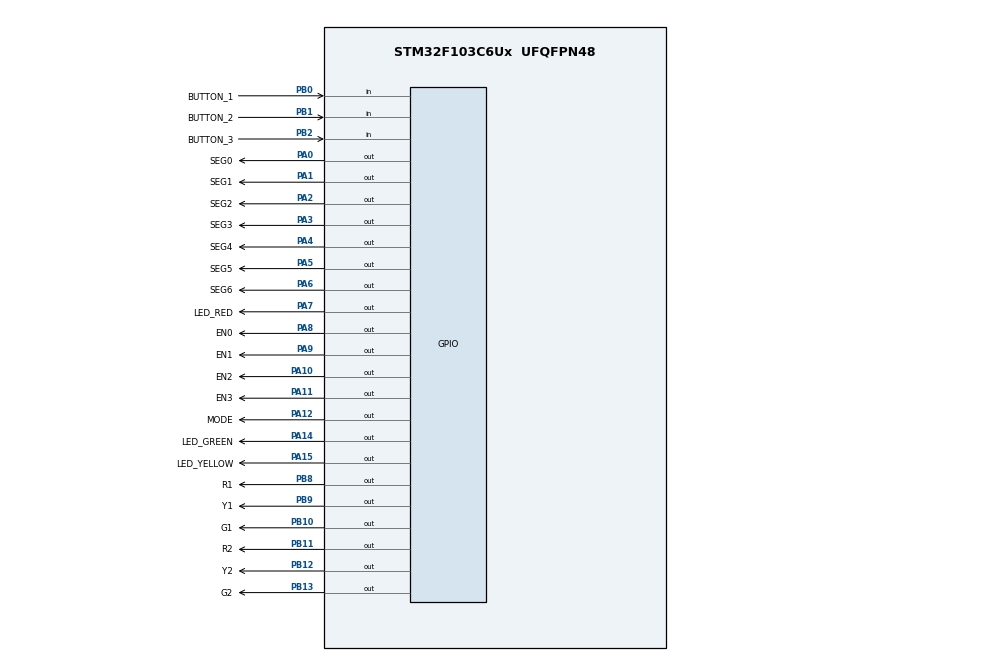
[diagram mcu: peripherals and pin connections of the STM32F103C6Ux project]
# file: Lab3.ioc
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Mcu.Family=STM32F1
Mcu.Name=STM32F103C6Ux
Mcu.Package=UFQFPN48
NVIC.PriorityGroup=NVIC_PRIORITYGROUP_4
NVIC.TIM2_IRQn=true\:0\:0\:false\:false\:true\:true\:true
PA0-WKUP.GPIO_Label=SEG0
PA0-WKUP.Signal=GPIO_Output
PA1.GPIO_Label=SEG1
PA1.Signal=GPIO_Output
PA10.GPIO_Label=EN2
PA10.Signal=GPIO_Output
PA11.GPIO_Label=EN3
PA11.Signal=GPIO_Output
PA12.GPIO_Label=MODE
PA12.Signal=GPIO_Output
PA14.GPIO_Label=LED_GREEN
PA14.Signal=GPIO_Output
PA15.GPIO_Label=LED_YELLOW
PA15.Signal=GPIO_Output
PA2.GPIO_Label=SEG2
PA2.Signal=GPIO_Output
PA3.GPIO_Label=SEG3
PA3.Signal=GPIO_Output
PA4.GPIO_Label=SEG4
PA4.Signal=GPIO_Output
PA5.GPIO_Label=SEG5
PA5.Signal=GPIO_Output
PA6.GPIO_Label=SEG6
PA6.Signal=GPIO_Output
PA7.GPIO_Label=LED_RED
PA7.Signal=GPIO_Output
PA8.GPIO_Label=EN0
PA8.Signal=GPIO_Output
PA9.GPIO_Label=EN1
PA9.Signal=GPIO_Output
PB0.GPIO_Label=BUTTON_1
PB0.Signal=GPIO_Input
PB1.GPIO_Label=BUTTON_2
PB1.Signal=GPIO_Input
PB10.GPIO_Label=G1
PB10.Signal=GPIO_Output
PB11.GPIO_Label=R2
PB11.Signal=GPIO_Output
PB12.GPIO_Label=Y2
PB12.Signal=GPIO_Output
PB13.GPIO_Label=G2
PB13.Signal=GPIO_Output
PB2.GPIO_Label=BUTTON_3
PB2.Signal=GPIO_Input
PB8.GPIO_Label=R1
PB8.Signal=GPIO_Output
PB9.GPIO_Label=Y1
PB9.Signal=GPIO_Output
ProjectManager.HeapSize=0x200
ProjectManager.StackSize=0x400
ProjectManager.TargetToolchain=STM32CubeIDE
RCC.APB1Freq_Value=8000000
RCC.APB2Freq_Value=8000000
TIM2.Period=9
TIM2.Prescaler=799
VP_SYS_VS_ND.Mode=No_Debug
VP_TIM2_VS_ClockSourceINT.Mode=Internal
board=custom

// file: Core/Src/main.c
/* USER CODE BEGIN Header */
/**
  ******************************************************************************
  * @file           : main.c
  * @brief          : Main program body
  ******************************************************************************
  * @attention
  *
  * <h2><center>&copy; Copyright (c) 2024 STMicroelectronics.
  * All rights reserved.</center></h2>
  *
  * This software component is licensed by ST under BSD 3-Clause license,
  * the "License"; You may not use this file except in compliance with the
  * License. You may obtain a copy of the License at:
  *                        opensource.org/licenses/BSD-3-Clause
  *
  ******************************************************************************
  */
/* USER CODE END Header */
#include "main.h"

/* USER CODE BEGIN Includes */
#include "timer.h"
#include "led_display.h"
#include "fsm_manual.h"
#include "fsm_automatic.h"
/* USER CODE END Includes */

TIM_HandleTypeDef htim2;

void SystemClock_Config(void);
static void MX_TIM2_Init(void);
static void MX_GPIO_Init(void);

int main(void)
{

  /* MCU Configuration--------------------------------------------------------*/

  /* Reset of all peripherals, Initializes the Flash interface and the Systick. */
  HAL_Init();

  /* Configure the system clock */
  SystemClock_Config();

  /* Initialize all configured peripherals */
  MX_TIM2_Init();
  MX_GPIO_Init();
  /* USER CODE BEGIN 2 */
  HAL_TIM_Base_Start_IT(&htim2);
  /* USER CODE END 2 */

  /* Infinite loop */
  /* USER CODE BEGIN WHILE */
//  setTimer5(1);
  init_buffer();
  LedTimeDurationInit();
  setTimer1(1);
  setTimer2(1);
  setTimer3(1);
  while (1)
  {
	  fsm_automatic();
	  fsm_manual();
	  if (get_timer2_flag())
	  {
		  LEDScanning();
		  setTimer2(1);
	  }

	  if(get_timer3_flag())
	  {
		  HAL_GPIO_TogglePin(LED_RED_GPIO_Port, LED_RED_Pin);
		  setTimer3(500);
	  }

    /* USER CODE END WHILE */

  }
}

void SystemClock_Config(void)
{
  RCC_OscInitTypeDef RCC_OscInitStruct = {0};
  RCC_ClkInitTypeDef RCC_ClkInitStruct = {0};

  /** Initializes the RCC Oscillators according to the specified parameters
  * in the RCC_OscInitTypeDef structure.
  */
  RCC_OscInitStruct.OscillatorType = RCC_OSCILLATORTYPE_HSI;
  RCC_OscInitStruct.HSIState = RCC_HSI_ON;
  RCC_OscInitStruct.HSICalibrationValue = RCC_HSICALIBRATION_DEFAULT;
  RCC_OscInitStruct.PLL.PLLState = RCC_PLL_NONE;
  if (HAL_RCC_OscConfig(&RCC_OscInitStruct) != HAL_OK)
  {
    Error_Handler();
  }
  /** Initializes the CPU, AHB and APB buses clocks
  */
  RCC_ClkInitStruct.ClockType = RCC_CLOCKTYPE_HCLK|RCC_CLOCKTYPE_SYSCLK
                              |RCC_CLOCKTYPE_PCLK1|RCC_CLOCKTYPE_PCLK2;
  RCC_ClkInitStruct.SYSCLKSource = RCC_SYSCLKSOURCE_HSI;
  RCC_ClkInitStruct.AHBCLKDivider = RCC_SYSCLK_DIV1;
  RCC_ClkInitStruct.APB1CLKDivider = RCC_HCLK_DIV1;
  RCC_ClkInitStruct.APB2CLKDivider = RCC_HCLK_DIV1;

  if (HAL_RCC_ClockConfig(&RCC_ClkInitStruct, FLASH_LATENCY_0) != HAL_OK)
  {
    Error_Handler();
  }
}

static void MX_TIM2_Init(void)
{

  TIM_ClockConfigTypeDef sClockSourceConfig = {0};
  TIM_MasterConfigTypeDef sMasterConfig = {0};

  htim2.Instance = TIM2;
  htim2.Init.Prescaler = 799;
  htim2.Init.CounterMode = TIM_COUNTERMODE_UP;
  htim2.Init.Period = 9;
  htim2.Init.ClockDivision = TIM_CLOCKDIVISION_DIV1;
  htim2.Init.AutoReloadPreload = TIM_AUTORELOAD_PRELOAD_DISABLE;
  if (HAL_TIM_Base_Init(&htim2) != HAL_OK)
  {
    Error_Handler();
  }
  sClockSourceConfig.ClockSource = TIM_CLOCKSOURCE_INTERNAL;
  if (HAL_TIM_ConfigClockSource(&htim2, &sClockSourceConfig) != HAL_OK)
  {
    Error_Handler();
  }
  sMasterConfig.MasterOutputTrigger = TIM_TRGO_RESET;
  sMasterConfig.MasterSlaveMode = TIM_MASTERSLAVEMODE_DISABLE;
  if (HAL_TIMEx_MasterConfigSynchronization(&htim2, &sMasterConfig) != HAL_OK)
  {
    Error_Handler();
  }

}

static void MX_GPIO_Init(void)
{
  GPIO_InitTypeDef GPIO_InitStruct = {0};

  /* GPIO Ports Clock Enable */
  __HAL_RCC_GPIOA_CLK_ENABLE();
  __HAL_RCC_GPIOB_CLK_ENABLE();

  /*Configure GPIO pin Output Level */
  HAL_GPIO_WritePin(GPIOA, SEG0_Pin|SEG1_Pin|SEG2_Pin|SEG3_Pin
                          |SEG4_Pin|SEG5_Pin|SEG6_Pin|LED_RED_Pin
                          |EN0_Pin|EN1_Pin|EN2_Pin|EN3_Pin
                          |MODE_Pin|LED_GREEN_Pin|LED_YELLOW_Pin, GPIO_PIN_RESET);

  /*Configure GPIO pin Output Level */
  HAL_GPIO_WritePin(GPIOB, G1_Pin|R2_Pin|Y2_Pin|G2_Pin
                          |R1_Pin|Y1_Pin, GPIO_PIN_RESET);

  /*Configure GPIO pins : SEG0_Pin SEG1_Pin SEG2_Pin SEG3_Pin
                           SEG4_Pin SEG5_Pin SEG6_Pin LED_RED_Pin
                           EN0_Pin EN1_Pin EN2_Pin EN3_Pin
                           MODE_Pin LED_GREEN_Pin LED_YELLOW_Pin */
  GPIO_InitStruct.Pin = SEG0_Pin|SEG1_Pin|SEG2_Pin|SEG3_Pin
                          |SEG4_Pin|SEG5_Pin|SEG6_Pin|LED_RED_Pin
                          |EN0_Pin|EN1_Pin|EN2_Pin|EN3_Pin
                          |MODE_Pin|LED_GREEN_Pin|LED_YELLOW_Pin;
  GPIO_InitStruct.Mode = GPIO_MODE_OUTPUT_PP;
  GPIO_InitStruct.Pull = GPIO_NOPULL;
  GPIO_InitStruct.Speed = GPIO_SPEED_FREQ_LOW;
  HAL_GPIO_Init(GPIOA, &GPIO_InitStruct);

  /*Configure GPIO pins : BUTTON_1_Pin BUTTON_2_Pin BUTTON_3_Pin */
  GPIO_InitStruct.Pin = BUTTON_1_Pin|BUTTON_2_Pin|BUTTON_3_Pin;
  GPIO_InitStruct.Mode = GPIO_MODE_INPUT;
  GPIO_InitStruct.Pull = GPIO_NOPULL;
  HAL_GPIO_Init(GPIOB, &GPIO_InitStruct);

  /*Configure GPIO pins : G1_Pin R2_Pin Y2_Pin G2_Pin
                           R1_Pin Y1_Pin */
  GPIO_InitStruct.Pin = G1_Pin|R2_Pin|Y2_Pin|G2_Pin
                          |R1_Pin|Y1_Pin;
  GPIO_InitStruct.Mode = GPIO_MODE_OUTPUT_PP;
  GPIO_InitStruct.Pull = GPIO_NOPULL;
  GPIO_InitStruct.Speed = GPIO_SPEED_FREQ_LOW;
  HAL_GPIO_Init(GPIOB, &GPIO_InitStruct);

}

/* USER CODE BEGIN 4 */
void HAL_TIM_PeriodElapsedCallback ( TIM_HandleTypeDef * htim )
{
	timer_run();
	button_reading();
}
/* USER CODE END 4 */

void Error_Handler(void)
{
  __disable_irq();
  while (1)
  {
  }
}

/************************ (C) COPYRIGHT STMicroelectronics *****END OF FILE****/
